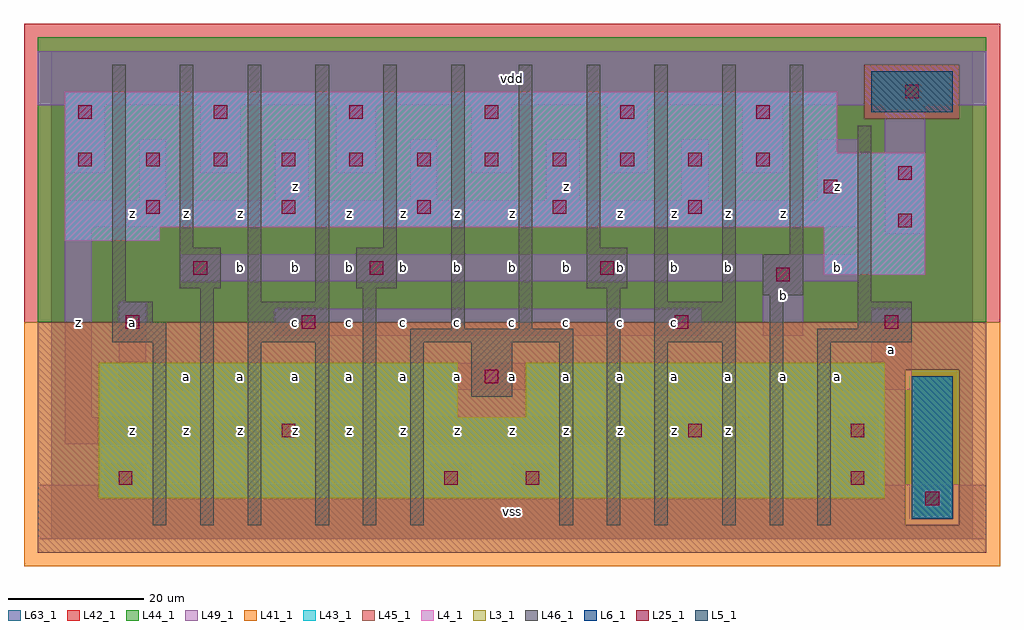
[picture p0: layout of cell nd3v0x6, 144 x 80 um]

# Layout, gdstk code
import gdstk
lib = gdstk.Library(unit=1e-6, precision=1e-09)
def R(c, l, rs):  # rectangles x0, y0, x1, y1
    for r in rs: c.add(gdstk.rectangle(r[:2], r[2:], *l))
def A(c, l, x, y, w, h, nx, ny, dx, dy):  # array of equal rectangles
    R(c, l, [(x+i*dx, y+j*dy, x+i*dx+w, y+j*dy+h) for i in range(nx) for j in range(ny)])
L3_1 = (3, 1)
L4_1 = (4, 1)
L5_1 = (5, 1)
L6_1 = (6, 1)
L25_1 = (25, 1)
L41_1 = (41, 1)
L42_1 = (42, 1)
L43_1 = (43, 1)
L44_1 = (44, 1)
L45_1 = (45, 1)
L46_1 = (46, 1)
L49_1 = (49, 1)
L63_1 = (63, 1)

nd3v0x6 = lib.new_cell('nd3v0x6')
R(nd3v0x6, L3_1, [(7,6,123,18), (7,18,60,26), (70,18,123,26)])
R(nd3v0x6, L4_1, [(114,39,129,46), (2,44,16,46), (2,46,129,57), (2,57,116,66)])
R(nd3v0x6, L5_1, [(121,63,133,69)])
R(nd3v0x6, L6_1, [(127,3,133,24), (127,3,133,24)])
A(nd3v0x6, L25_1, 14, 48, 2, 2, 5, 1, 20, 0)
A(nd3v0x6, L25_1, 4, 55, 2, 2, 11, 1, 10, 0)
A(nd3v0x6, L25_1, 4, 62, 2, 2, 6, 1, 20, 0)
R(nd3v0x6, L25_1, [(129,5,131,7), (10,8,12,10), (58,8,60,10), (70,8,72,10), (118,8,120,10), (34,15,36,17), (94,15,96,17), (118,15,120,17), (64,23,66,25), (11,31,13,33), (37,31,39,33), (92,31,94,33), (123,31,125,33), (107,38,109,40), (21,39,23,41), (47,39,49,41), (81,39,83,41), (125,46,127,48), (114,51,116,53), (125,53,127,55), (126,65,128,67)])
R(nd3v0x6, L41_1, [(-4,-4,140,32)])
R(nd3v0x6, L42_1, [(-4,32,140,76)])
R(nd3v0x6, L43_1, [(127,3,133,24), (7,6,123,18), (7,18,60,26), (70,18,123,26), (114,39,129,46), (2,44,16,46), (2,46,129,57), (2,57,116,66), (121,63,133,69)])
R(nd3v0x6, L44_1, [(126,2,134,25), (-2,32,138,62), (-2,62,120,70), (134,62,138,70), (-2,70,138,74)])
R(nd3v0x6, L45_1, [(-2,-2,138,2), (-2,2,126,25), (134,2,138,25), (-2,25,138,32), (120,62,134,70)])
A(nd3v0x6, L46_1, 19, 43, 2, 27, 3, 1, 30, 0)
R(nd3v0x6, L46_1, [(15,2,17,29), (22,2,24,37), (29,2,31,29), (39,2,41,29), (46,2,48,37), (53,2,55,29), (75,2,77,29), (82,2,84,37), (89,2,91,29), (99,2,101,29), (106,2,108,36), (113,2,115,29), (62,21,68,29), (9,29,17,32), (29,29,41,35), (53,29,77,31), (89,29,101,35), (113,29,127,31), (59,31,61,70), (69,31,71,70), (119,31,127,35), (9,32,15,35), (9,35,11,70), (29,35,31,70), (39,35,41,70), (89,35,91,70), (99,35,101,70), (119,35,121,61), (105,36,111,42), (19,37,25,43), (45,37,51,43), (79,37,85,43), (109,42,111,70)])
A(nd3v0x6, L49_1, 13, 50, 4, 9, 3, 1, 40, 0)
A(nd3v0x6, L49_1, 2, 54, 6, 10, 6, 1, 20, 0)
R(nd3v0x6, L49_1, [(-2,0,138,8), (8,8,14,11), (56,8,62,11), (68,8,74,11), (116,8,122,18), (2,14,103,18), (2,18,6,46), (10,22,127,26), (10,26,14,35), (121,26,127,34), (33,30,96,34), (105,30,111,38), (19,38,119,42), (123,45,129,64), (2,46,119,50), (33,50,38,59), (73,50,78,59), (113,50,119,59), (-2,64,138,72)])
R(nd3v0x6, L63_1, [(0,0,136,72)])
nd3v0x6.add(gdstk.Label('z', (12,16), layer=49, texttype=1))
nd3v0x6.add(gdstk.Label('z', (4,32), layer=49, texttype=1))
nd3v0x6.add(gdstk.Label('a', (12,32), layer=49, texttype=1))
nd3v0x6.add(gdstk.Label('z', (12,48), layer=49, texttype=1))
nd3v0x6.add(gdstk.Label('z', (20,16), layer=49, texttype=1))
nd3v0x6.add(gdstk.Label('z', (28,16), layer=49, texttype=1))
nd3v0x6.add(gdstk.Label('z', (36,16), layer=49, texttype=1))
nd3v0x6.add(gdstk.Label('a', (28,24), layer=49, texttype=1))
nd3v0x6.add(gdstk.Label('a', (36,24), layer=49, texttype=1))
nd3v0x6.add(gdstk.Label('a', (20,24), layer=49, texttype=1))
nd3v0x6.add(gdstk.Label('c', (36,32), layer=49, texttype=1))
nd3v0x6.add(gdstk.Label('b', (28,40), layer=49, texttype=1))
nd3v0x6.add(gdstk.Label('b', (36,40), layer=49, texttype=1))
nd3v0x6.add(gdstk.Label('z', (28,48), layer=49, texttype=1))
nd3v0x6.add(gdstk.Label('z', (36,52), layer=49, texttype=1))
nd3v0x6.add(gdstk.Label('z', (20,48), layer=49, texttype=1))
nd3v0x6.add(gdstk.Label('z', (44,16), layer=49, texttype=1))
nd3v0x6.add(gdstk.Label('z', (52,16), layer=49, texttype=1))
nd3v0x6.add(gdstk.Label('z', (60,16), layer=49, texttype=1))
nd3v0x6.add(gdstk.Label('a', (52,24), layer=49, texttype=1))
nd3v0x6.add(gdstk.Label('a', (60,24), layer=49, texttype=1))
nd3v0x6.add(gdstk.Label('a', (44,24), layer=49, texttype=1))
nd3v0x6.add(gdstk.Label('c', (44,32), layer=49, texttype=1))
nd3v0x6.add(gdstk.Label('c', (52,32), layer=49, texttype=1))
nd3v0x6.add(gdstk.Label('c', (60,32), layer=49, texttype=1))
nd3v0x6.add(gdstk.Label('b', (52,40), layer=49, texttype=1))
nd3v0x6.add(gdstk.Label('b', (60,40), layer=49, texttype=1))
nd3v0x6.add(gdstk.Label('b', (44,40), layer=49, texttype=1))
nd3v0x6.add(gdstk.Label('z', (52,48), layer=49, texttype=1))
nd3v0x6.add(gdstk.Label('z', (60,48), layer=49, texttype=1))
nd3v0x6.add(gdstk.Label('z', (44,48), layer=49, texttype=1))
nd3v0x6.add(gdstk.Label('vss', (68,4), layer=49, texttype=1))
nd3v0x6.add(gdstk.Label('z', (68,16), layer=49, texttype=1))
nd3v0x6.add(gdstk.Label('z', (76,16), layer=49, texttype=1))
nd3v0x6.add(gdstk.Label('z', (84,16), layer=49, texttype=1))
nd3v0x6.add(gdstk.Label('a', (76,24), layer=49, texttype=1))
nd3v0x6.add(gdstk.Label('a', (84,24), layer=49, texttype=1))
nd3v0x6.add(gdstk.Label('a', (68,24), layer=49, texttype=1))
nd3v0x6.add(gdstk.Label('c', (68,32), layer=49, texttype=1))
nd3v0x6.add(gdstk.Label('c', (76,32), layer=49, texttype=1))
nd3v0x6.add(gdstk.Label('c', (84,32), layer=49, texttype=1))
nd3v0x6.add(gdstk.Label('b', (76,40), layer=49, texttype=1))
nd3v0x6.add(gdstk.Label('b', (84,40), layer=49, texttype=1))
nd3v0x6.add(gdstk.Label('b', (68,40), layer=49, texttype=1))
nd3v0x6.add(gdstk.Label('z', (76,52), layer=49, texttype=1))
nd3v0x6.add(gdstk.Label('z', (84,48), layer=49, texttype=1))
nd3v0x6.add(gdstk.Label('z', (68,48), layer=49, texttype=1))
nd3v0x6.add(gdstk.Label('vdd', (68,68), layer=49, texttype=1))
nd3v0x6.add(gdstk.Label('z', (92,16), layer=49, texttype=1))
nd3v0x6.add(gdstk.Label('z', (100,16), layer=49, texttype=1))
nd3v0x6.add(gdstk.Label('a', (100,24), layer=49, texttype=1))
nd3v0x6.add(gdstk.Label('a', (108,24), layer=49, texttype=1))
nd3v0x6.add(gdstk.Label('a', (92,24), layer=49, texttype=1))
nd3v0x6.add(gdstk.Label('c', (92,32), layer=49, texttype=1))
nd3v0x6.add(gdstk.Label('b', (100,40), layer=49, texttype=1))
nd3v0x6.add(gdstk.Label('b', (108,36), layer=49, texttype=1))
nd3v0x6.add(gdstk.Label('b', (92,40), layer=49, texttype=1))
nd3v0x6.add(gdstk.Label('z', (100,48), layer=49, texttype=1))
nd3v0x6.add(gdstk.Label('z', (108,48), layer=49, texttype=1))
nd3v0x6.add(gdstk.Label('z', (92,48), layer=49, texttype=1))
nd3v0x6.add(gdstk.Label('a', (124,28), layer=49, texttype=1))
nd3v0x6.add(gdstk.Label('a', (116,24), layer=49, texttype=1))
nd3v0x6.add(gdstk.Label('b', (116,40), layer=49, texttype=1))
nd3v0x6.add(gdstk.Label('z', (116,52), layer=49, texttype=1))

lib.write_gds('nd3v0x6.gds')
